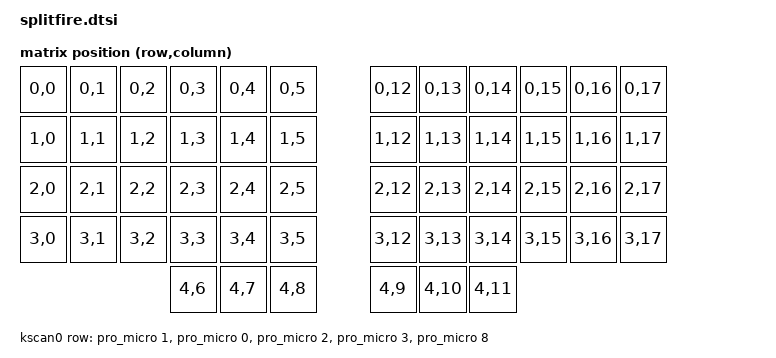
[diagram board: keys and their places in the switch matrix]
#include <dt-bindings/zmk/matrix_transform.h>

/ {
    chosen {
        zmk,kscan = &kscan0;
        zmk,matrix_transform = &default_transform;
    };

    default_transform: keymap_transform_0 {
        compatible = "zmk,matrix-transform";
        columns = <18>;
        rows = <5>;
// | SW6  | SW5  | SW4  | SW3  | SW2  | SW1  |                 | SW1  | SW2  | SW3  | SW4  | SW5  | SW6  |
// | SW12 | SW11 | SW10 | SW9  | SW8  | SW7  |                 | SW7  | SW8  | SW9  | SW10 | SW11 | SW12 |
// | SW18 | SW17 | SW16 | SW15 | SW14 | SW13 |                 | SW13 | SW14 | SW15 | SW16 | SW17 | SW18 |
// | SW24 | SW23 | SW22 | SW21 | SW20 | SW19 |                 | SW19 | SW20 | SW21 | SW22 | SW23 | SW24 |
// | SW30 | SW29 | SW28 | SW27 | SW26 | SW25 |                 | SW25 | SW26 | SW27 | SW28 | SW29 | SW30 |

        map = <
RC(0,0) RC(0,1) RC(0,2) RC(0,3) RC(0,4) RC(0,5)                 RC(0,12) RC(0,13) RC(0,14) RC(0,15) RC(0,16) RC(0,17)
RC(1,0) RC(1,1) RC(1,2) RC(1,3) RC(1,4) RC(1,5)                 RC(1,12) RC(1,13) RC(1,14) RC(1,15) RC(1,16) RC(1,17)
RC(2,0) RC(2,1) RC(2,2) RC(2,3) RC(2,4) RC(2,5)                 RC(2,12) RC(2,13) RC(2,14) RC(2,15) RC(2,16) RC(2,17)
RC(3,0) RC(3,1) RC(3,2) RC(3,3) RC(3,4) RC(3,5)                 RC(3,12) RC(3,13) RC(3,14) RC(3,15) RC(3,16) RC(3,17)
                        RC(4,6) RC(4,7) RC(4,8)                 RC(4,9) RC(4,10) RC(4,11) 
        >;
    };

    kscan0: kscan0 {
        compatible = "zmk,kscan-gpio-matrix";
        wakeup-source;
        diode-direction = "col2row";
        row-gpios
            = <&pro_micro 1 (GPIO_ACTIVE_HIGH | GPIO_PULL_DOWN)> // Row A from the schematic file
            , <&pro_micro 0 (GPIO_ACTIVE_HIGH | GPIO_PULL_DOWN)> // Row B from the schematic file
            , <&pro_micro 2 (GPIO_ACTIVE_HIGH | GPIO_PULL_DOWN)> // Row C from the schematic file
            , <&pro_micro 3 (GPIO_ACTIVE_HIGH | GPIO_PULL_DOWN)> // Bottom Row from the schematic file
            , <&pro_micro 8 (GPIO_ACTIVE_HIGH | GPIO_PULL_DOWN)> // thumb cluster row from the schematic file
            ;

    };
    behaviors{
        &lt {
            tapping-term-ms = <200>; // This is the value already set by default
        };
    };
};
